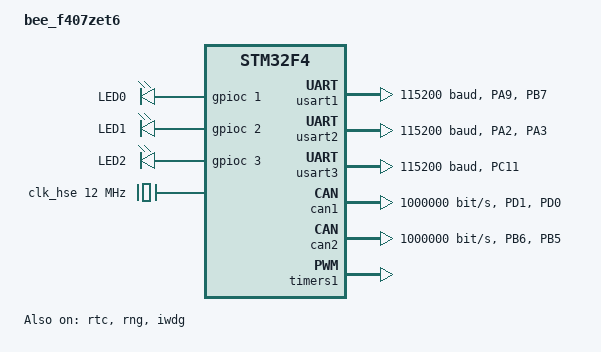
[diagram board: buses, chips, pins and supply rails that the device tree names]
/dts-v1/;

#include <st/f4/stm32f407Xe.dtsi>
#include <zephyr/dt-bindings/gpio/gpio.h>
#include <zephyr/dt-bindings/pinctrl/stm32-pinctrl.h>
#include <zephyr/dt-bindings/pwm/stm32_pwm.h>

/ {
    model = "bee_f407zet6";
    compatible = "st,stm32f407zet6", "st,stm32f4";

    chosen {
        zephyr,sram = &sram0;
        zephyr,flash = &flash0;
        zephyr,ccm = &ccm0;
    };

    aliases {
        led0 = &led_0_red;
        led1 = &led_1_blue;
        led2 = &led_2_green;
        watchdog0 = &iwdg;
        pwm0 = &tim1_pwm;
        dbus = &usart3;
    };

    leds {
        compatible = "gpio-leds";

        led_0_red: led_0_red {
            gpios = <&gpioc 1 GPIO_ACTIVE_HIGH>;
            label = "LED0";
        };

        led_1_blue: led_1_blue {
            gpios = <&gpioc 2 GPIO_ACTIVE_HIGH>;
            label = "LED1";
        };

        led_2_green: led_2_green {
            gpios = <&gpioc 3 GPIO_ACTIVE_HIGH>;
            label = "LED2";
        };
    };

};

&clk_lsi {
    status = "okay";
};

&clk_hse {
    clock-frequency = <DT_FREQ_M(12)>;
    status = "okay";
};

&pll {
    div-m = <8>;
    mul-n = <168>;
    div-p = <2>;
    div-q = <8>;
    clocks = <&clk_hse>;
    status = "okay";
};

&rcc {
    clocks = <&pll>;
    clock-frequency = <DT_FREQ_M(168)>;
    ahb-prescaler = <1>;
    apb1-prescaler = <4>;
    apb2-prescaler = <2>;
};

&rtc {
    clocks = <&rcc STM32_CLOCK(APB1, 28)>, <&rcc STM32_SRC_LSI RTC_SEL(2)>;
    status = "okay";
};

&rng {
    status = "okay";
};

&iwdg {
    status = "okay";
};

&pinctrl {
    usart1_tx_pin: usart1_tx {
        pinmux = <STM32_PINMUX('A', 9, AF7)>;
        bias-disable;
    };
    usart1_rx_pin: usart1_rx {
        pinmux = <STM32_PINMUX('B', 7, AF7)>;
        bias-disable;
    };
    usart2_tx_pin: usart2_tx {
        pinmux = <STM32_PINMUX('A', 2, AF7)>;
        bias-disable;
    };
    usart2_rx_pin: usart2_rx {
        pinmux = <STM32_PINMUX('A', 3, AF7)>;
        bias-disable;
    };
    usart3_rx_pin: usart3_rx {
        pinmux = <STM32_PINMUX('C', 11, AF7)>;
        bias-disable;
    };

    can1_tx_pin: can1_tx {
        pinmux = <STM32_PINMUX('D', 1, AF9)>;
        bias-disable;
    };
    can1_rx_pin: can1_rx {
        pinmux = <STM32_PINMUX('D', 0, AF9)>;
        bias-disable;
    };

    can2_tx_pin: can2_tx {
        pinmux = <STM32_PINMUX('B', 6, AF9)>;
        bias-disable;
    };
    can2_rx_pin: can2_rx {
        pinmux = <STM32_PINMUX('B', 5, AF9)>;
        bias-disable;
    };
    tim1_ch4_pin: tim1_ch4{
        pinmux = <STM32_PINMUX('E', 14, AF1)>;
    };
};

&usart1 {
    pinctrl-0 = <&usart1_tx_pin &usart1_rx_pin>;
    pinctrl-names = "default";
    status = "okay";
    current-speed = <115200>;
    parity = "none";
    stop-bits = "1";
    data-bits = <8>;
};
&usart2 {
    pinctrl-0 = <&usart2_tx_pin &usart2_rx_pin>;
    pinctrl-names = "default";
    status = "okay";
    current-speed = <115200>;
    parity = "none";
    stop-bits = "1";
    data-bits = <8>;
};
&usart3 {
    pinctrl-0 = <&usart3_rx_pin>;
    pinctrl-names = "default";
    status = "okay";
    current-speed = <115200>;
    parity = "none";
    stop-bits = "1";
    data-bits = <8>;
    dmas=<&dma1 1 4 0x400 0x03>;//stream 1,channel 4,默认配置,very high优先级
};
&can1 {
    pinctrl-0 = <&can1_tx_pin &can1_rx_pin>;
    pinctrl-names = "default";
    status = "okay";
    bitrate = <1000000>;  /* 替换 bus-speed */
    /* 删除 st,can-filter-mask */
};

&can2 {
    pinctrl-0 = <&can2_tx_pin &can2_rx_pin>;
    pinctrl-names = "default";
    status = "okay";
    bitrate = <1000000>;  /* 替换 bus-speed */
    /* 删除 st,can-filter-mask */
};

&dma1 {
    status = "okay";
};
&dma2 {
    status = "okay";
};
//tim1 ch4
&timers1{
    status = "okay";
    st,prescaler = <1000>;
    tim1_pwm:pwm{
        status = "okay";
        pinctrl-0 = <&tim1_ch4_pin>;
        pinctrl-names = "default";
    };
};

